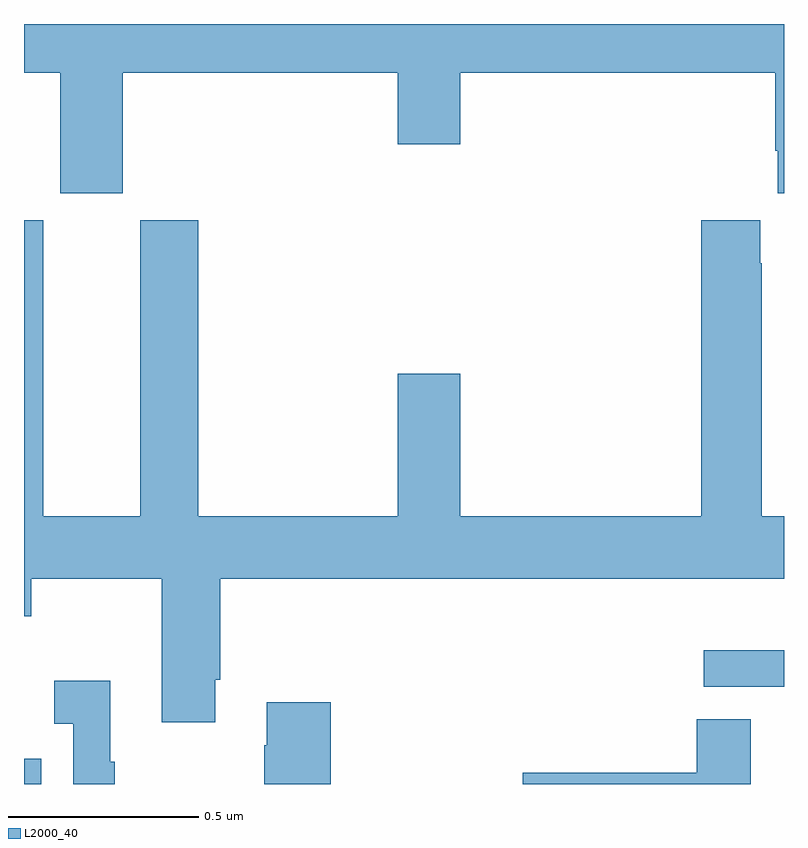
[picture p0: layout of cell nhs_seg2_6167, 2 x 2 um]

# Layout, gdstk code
import gdstk
lib = gdstk.Library(unit=1e-6, precision=1e-09)
def R(c, l, rs):  # rectangles x0, y0, x1, y1
    for r in rs: c.add(gdstk.rectangle(r[:2], r[2:], *l))
def P(c, l, *ps):  # polygons
    for p in ps: c.add(gdstk.Polygon(p, *l))
L2000_40 = (2000, 40)

nhs_seg2_6167 = lib.new_cell('nhs_seg2_6167')
R(nhs_seg2_6167, L2000_40, [(188,609.8,188.045,609.867), (189.789,610.056,190,610.152)])
P(nhs_seg2_6167, L2000_40, [(188,611.672),(188.096,611.672),(188.096,611.355),(188.26,611.355),(188.26,611.672),(188.984,611.672),(188.984,611.484),(189.148,611.484),(189.148,611.672),(189.977,611.672),(189.977,611.467),(189.983,611.467),(189.983,611.355),(190,611.355),(190,611.8),(188,611.8)],
  [(188.306,611.283),(188.306,610.504),(188.05,610.504),(188.05,611.283),(188,611.283),(188,610.241),(188.019,610.241),(188.019,610.34),(188.363,610.34),(188.363,609.963),(188.503,609.963),(188.503,610.075),(188.516,610.075),(188.516,610.34),(190,610.34),(190,610.504),(189.942,610.504),(189.942,611.171),(189.937,611.171),(189.937,611.284),(189.782,611.284),(189.782,610.504),(189.148,610.504),(189.148,610.879),(188.984,610.879),(188.984,610.504),(188.459,610.504),(188.459,611.283)],
  [(188.239,609.859),(188.227,609.859),(188.227,610.072),(188.079,610.072),(188.079,609.959),(188.13,609.959),(188.13,609.8),(188.239,609.8)],
  [(188.807,610.015),(188.639,610.015),(188.639,609.902),(188.632,609.902),(188.632,609.8),(188.807,609.8)],
  [(189.913,609.971),(189.77,609.971),(189.77,609.83),(189.312,609.83),(189.312,609.8),(189.913,609.8)])

lib.write_gds('nhs_seg2_6167.gds')
